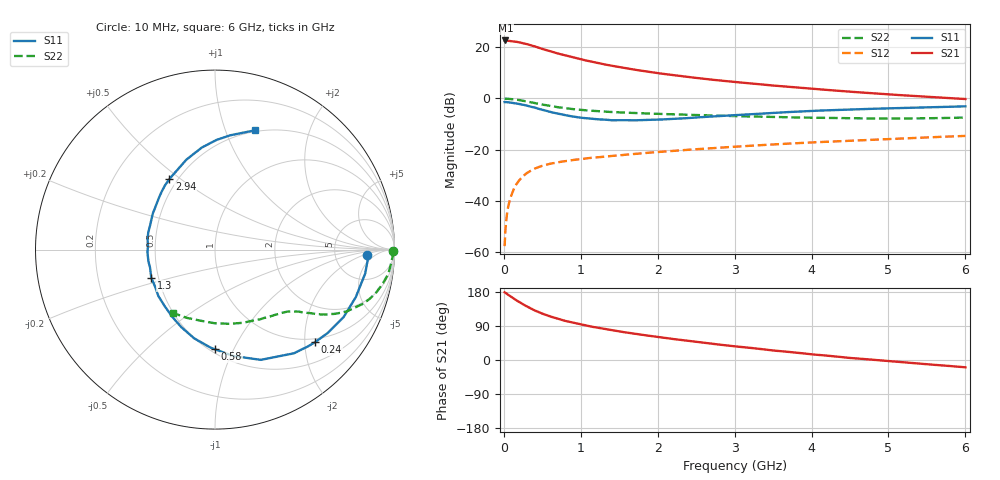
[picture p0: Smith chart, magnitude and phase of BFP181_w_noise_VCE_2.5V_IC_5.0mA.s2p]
! Infineon Technologies  Discrete & RF Semiconductors
! BFP181
! VCE = 2.5 V,  IC =  5.0 mA
! Common Emitter S-Parameters:  Jan 2016
# GHz  S  MA  R  50
!  f  S11  S21  S12  S22
! GHz  MAG  ANG  MAG  ANG  MAG  ANG  MAG  ANG
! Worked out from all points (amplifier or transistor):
!   210 points, 10 MHz to 6 GHz, reference 50 ohm
!   highest |S21| = 22.7 dB at 20 MHz (marker M1)
!   |S21| within 3 dB of that: start of sweep to 469 MHz
!   unconditionally stable (mu >= 1): 1.644 GHz to end of sweep
!   at 185 MHz: K = 0.17, MSG = 27.3 dB, |S12| = -32.6 dB
!   at 1.52 GHz: K = 0.96, MSG = 17.2 dB, |S12| = -22.2 dB
!   at 6 GHz: K = 1.04, MAG = 5.9 dB, |S12| = -14.6 dB
!   lowest NFmin = 1.55 dB at 450 MHz
!   S11 on the Smith chart (normalised r, x): 10 MHz: 12, -2; 240 MHz: 0.92, -2.23; 580 MHz: 0.53, -0.85; 1.3 GHz: 0.46, -0.17; 2.94 GHz: 0.45, +0.45; 6 GHz: 0.49, +1.28
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0.01  0.8485 -2.0  13.49 178.6  0.0013 81.6  0.9902 -0.6
0.02  0.8528 -3.8  13.6 177.6  0.0026 73.0  0.9925 -1.6
0.055  0.8443 -10.0  13.45 172.2  0.0075 86.1  0.9843 -4.4
0.15  0.8092 -27.7  12.94 159.1  0.0197 74.8  0.9537 -11.5
0.2  0.7816 -36.4  12.52 152.7  0.0252 71.1  0.9294 -14.9
0.24  0.7593 -42.8  12.06 147.9  0.0292 67.2  0.9078 -17.3
0.3  0.7262 -52.7  11.53 141.4  0.035 63.6  0.8726 -20.5
0.4  0.6654 -67.4  10.42 130.9  0.0425 57.4  0.8131 -25.0
0.5  0.6014 -80.3  9.299 122.3  0.0484 52.4  0.7608 -28.0
0.58  0.5558 -89.9  8.601 116.6  0.0521 49.6  0.7238 -29.9
0.7  0.5082 -103.1  7.575 108.7  0.0567 46.6  0.6756 -32.2
0.8  0.4708 -113.6  6.946 103.1  0.0597 44.5  0.6451 -33.4
1.02  0.4182 -133.4  5.723 93.0  0.0657 41.8  0.595 -35.9
1.3  0.3884 -156.1  4.648 82.2  0.0726 39.7  0.5547 -38.5
1.6  0.3766 -177.5  3.873 72.3  0.08 39.1  0.5267 -41.2
2.02  0.3864 158.9  3.097 60.3  0.0902 37.6  0.5 -46.1
2.4  0.414 141.9  2.626 50.4  0.0995 36.4  0.481 -51.2
2.94  0.467 122.9  2.146 37.5  0.1125 34.1  0.4552 -59.4
3.1  0.4817 118.0  2.036 34.2  0.1165 33.3  0.4483 -62.0
4.1  0.5793 95.8  1.51 13.3  0.1405 27.6  0.4175 -81.3
5.1  0.6474 81.2  1.176 -4.5  0.1629 21.7  0.4044 -103.4
6  0.7021 71.3  0.975 -19.3  0.1855 15.7  0.4241 -123.9
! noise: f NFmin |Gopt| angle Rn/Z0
0.45  1.55  0.48  17  0.36
0.9  1.65  0.4  35  0.34
1.8  2  0.18  88  0.34
